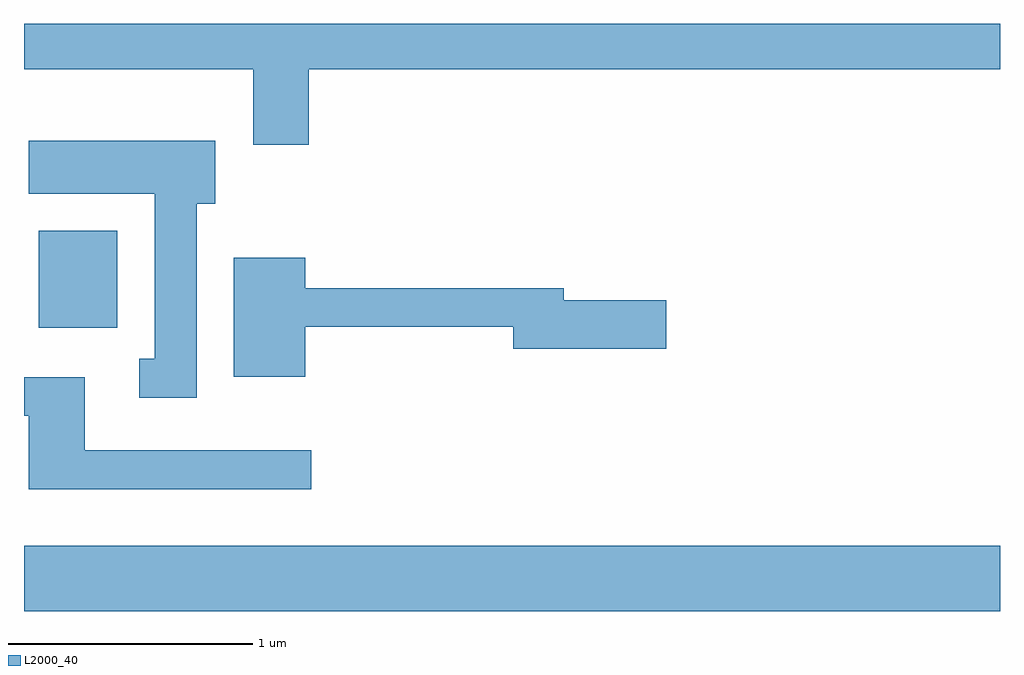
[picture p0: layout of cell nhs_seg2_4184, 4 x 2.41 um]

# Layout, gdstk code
import gdstk
lib = gdstk.Library(unit=1e-6, precision=1e-09)
def R(c, l, rs):  # rectangles x0, y0, x1, y1
    for r in rs: c.add(gdstk.rectangle(r[:2], r[2:], *l))
def P(c, l, *ps):  # polygons
    for p in ps: c.add(gdstk.Polygon(p, *l))
L2000_40 = (2000, 40)

nhs_seg2_4184 = lib.new_cell('nhs_seg2_4184')
R(nhs_seg2_4184, L2000_40, [(307.611,1079.396,311.611,1079.664), (307.671,1080.556,307.994,1080.954)])
P(nhs_seg2_4184, L2000_40, [(308.779,1081.616),(311.611,1081.616),(311.611,1081.802),(307.611,1081.802),(307.611,1081.616),(308.551,1081.616),(308.551,1081.306),(308.779,1081.306)],
  [(308.319,1081.066),(308.394,1081.066),(308.394,1081.324),(307.631,1081.324),(307.631,1081.106),(308.146,1081.106),(308.146,1080.429),(308.083,1080.429),(308.083,1080.271),(308.319,1080.271)],
  [(308.764,1080.561),(309.616,1080.561),(309.616,1080.471),(310.244,1080.471),(310.244,1080.669),(309.824,1080.669),(309.824,1080.719),(308.764,1080.719),(308.764,1080.844),(308.471,1080.844),(308.471,1080.356),(308.764,1080.356)],
  [(308.788,1080.054),(307.859,1080.054),(307.859,1080.354),(307.611,1080.354),(307.611,1080.196),(307.631,1080.196),(307.631,1079.896),(308.788,1079.896)])

lib.write_gds('nhs_seg2_4184.gds')
